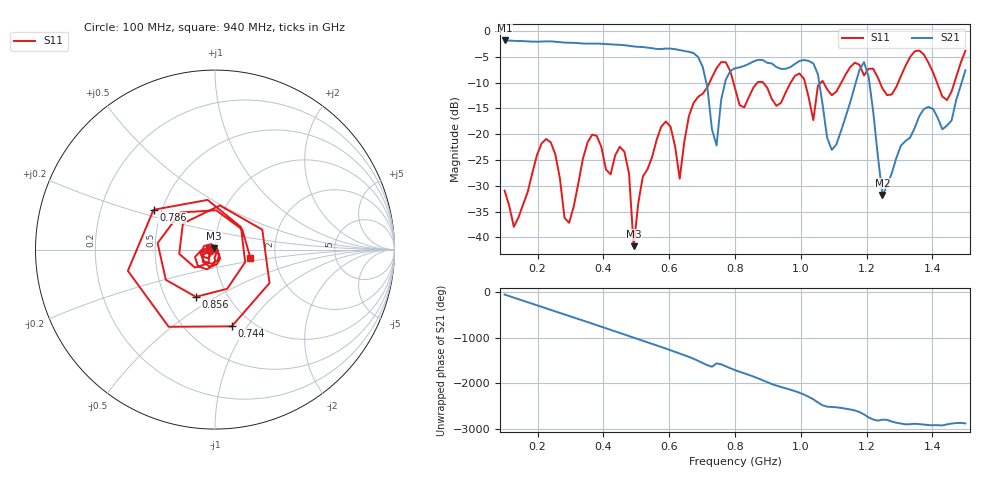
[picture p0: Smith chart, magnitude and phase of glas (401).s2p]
! NanoVNA-App
! Date: 2025-09-25 15:58:36
! Start: 100MHz Stop: 1,5GHz Points: 101
! S-Parameter data: F S11 S21 S12 S22
# Hz S RI R 50
!  Frequency  S11_Real  S11_Imag  S21_Real  S21_Imag  S12_Real  S12_Imag  S22_Real  S22_Imag
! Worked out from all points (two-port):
!   101 points, 100 MHz to 1.5 GHz, reference 50 ohm
!   highest |S21| = -1.80 dB at 100 MHz (marker M1); lowest = -31.8 dB at 1.248 GHz (marker M2)
!   |S21| within 3 dB of the highest: start of sweep to 684.2 MHz
!   lowest |S11| = -41.7 dB at 492 MHz (marker M3), VSWR 1.02, Z = 49.5 + j0.631 ohm
!   |S11| at or under -10 dB: start of sweep to 722.4 MHz; 795.5 MHz to 868.1 MHz (72.65 MHz wide, 8.73 % of centre); 885.9 MHz to 968.9 MHz (83.03 MHz wide, 8.95 % of centre) (the widest 3 of 7)
!   S12 and S22 are empty: the file has one direction only
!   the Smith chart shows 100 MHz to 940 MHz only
!   S11 on the Smith chart (normalised r, x): 100 MHz: 0.95, -0.01; 744 MHz: 0.80, -0.85; 786 MHz: 0.45, +0.24; 856 MHz: 0.71, -0.41; 940 MHz: 1.48, -0.14
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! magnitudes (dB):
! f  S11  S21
! 100 MHz  -30.9  -1.8
! 128 MHz  -38.0  -1.9
! 226 MHz  -20.9  -2.0
! 296 MHz  -37.2  -2.2
! 338 MHz  -24.7  -2.4
! 464 MHz  -23.4  -2.7
! 492 MHz  -41.7  -3.0
! 576 MHz  -18.5  -3.5
! 632 MHz  -28.6  -3.7
! 702 MHz  -12.1  -7.0
! 744 MHz  -7.2  -22.2
! 786 MHz  -7.8  -7.7
! 800 MHz  -11.1  -7.2
! 856 MHz  -10.9  -5.9
! 940 MHz  -13.9  -7.3
! 996 MHz  -8.2  -5.8
! 1.038 GHz  -17.3  -6.3
! 1.094 GHz  -12.4  -23.0
! 1.192 GHz  -8.6  -6.0
! 1.248 GHz  -11.1  -31.8
! 1.276 GHz  -12.3  -27.6
! 1.5 GHz  -3.8  -7.6
